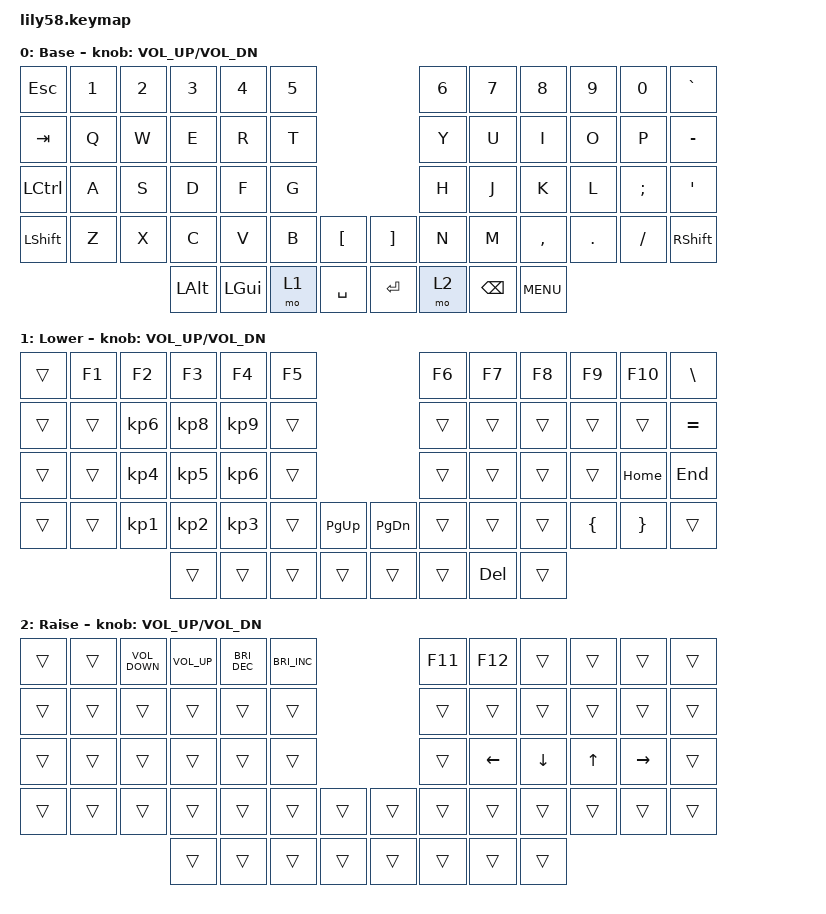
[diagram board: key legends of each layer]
/*
 * Copyright (c) 2020 The ZMK Contributors
 *
 * SPDX-License-Identifier: MIT
 */

#include <behaviors.dtsi>
#include <dt-bindings/zmk/keys.h>

/ {
    keymap {
        compatible = "zmk,keymap";

        default_layer {
            // ------------------------------------------------------------------------------------------------------------
            // |  ESC  |  1  |  2  |  3   |  4   |  5   |                   |  6   |  7    |  8    |  9   |   0   |   `   |
            // |  TAB  |  Q  |  W  |  E   |  R   |  T   |                   |  Y   |  U    |  I    |  O   |   P   |   -   |
            // |  CTRL |  A  |  S  |  D   |  F   |  G   |                   |  H   |  J    |  K    |  L   |   ;   |   '   |
            // | SHIFT |  Z  |  X  |  C   |  V   |  B   |   "["  |  |  "]"  |  N   |  M    |  ,    |  .   |   /   | SHIFT |
            //                     | ALT  | GUI  | LOWER|  SPACE |  | ENTER | RAISE| BSPC  | GUI   |

            display-name = "Base";
            bindings = <
&kp ESC    &kp N1  &kp N2  &kp N3    &kp N4    &kp N5                         &kp N6  &kp N7    &kp N8      &kp N9   &kp N0    &kp GRAVE
&kp TAB    &kp Q   &kp W   &kp E     &kp R     &kp T                          &kp Y   &kp U     &kp I       &kp O    &kp P     &kp MINUS
&kp LCTRL  &kp A   &kp S   &kp D     &kp F     &kp G                          &kp H   &kp J     &kp K       &kp L    &kp SEMI  &kp SQT
&kp LSHFT  &kp Z   &kp X   &kp C     &kp V     &kp B   &kp LBKT     &kp RBKT  &kp N   &kp M     &kp COMMA   &kp DOT  &kp FSLH  &kp RSHFT
                           &kp LALT  &kp LGUI  &mo 1   &kp SPACE    &kp RET   &mo 2   &kp BSPC  &kp K_MENU
            >;

            sensor-bindings = <&inc_dec_kp C_VOL_UP C_VOL_DN>;
        };

        lower_layer {
            // ------------------------------------------------------------------------------------------------------------
            // | BTCLR | BT1 | BT2 |  BT3 |  BT4 |  BT5 |                   |      |       |       |      |       |       |
            // |  F1   |  F2 |  F3 |  F4  |  F5  |  F6  |                   |  F7  |  F8   |  F9   |  F10 |  F11  |  F12  |
            // |   `   |  !  |  @  |  #   |  $   |  %   |                   |  ^   |  &    |  *    |  (   |   )   |   ~   |
            // |       |     |     |      |      |      |        |  |       |      |  _    |  +    |  {   |   }   |  "|"  |
            //                     |      |      |      |        |  |       |      |       |       |

            display-name = "Lower";
            bindings = <
&trans  &kp F1  &kp F2           &kp F3           &kp F4           &kp F5                                &kp F6  &kp F7      &kp F8  &kp F9    &kp F10   &kp BACKSLASH
&trans  &trans  &kp KP_NUMBER_6  &kp KP_NUMBER_8  &kp KP_NUMBER_9  &trans                                &trans  &trans      &trans  &trans    &trans    &kp EQUAL
&trans  &trans  &kp KP_NUMBER_4  &kp KP_NUMBER_5  &kp KP_NUMBER_6  &trans                                &trans  &trans      &trans  &trans    &kp HOME  &kp END
&trans  &trans  &kp KP_NUMBER_1  &kp KP_NUMBER_2  &kp KP_NUMBER_3  &trans  &kp PAGE_UP    &kp PAGE_DOWN  &trans  &trans      &trans  &kp LBRC  &kp RBRC  &trans
                                 &trans           &trans           &trans  &trans         &trans         &trans  &kp DELETE  &trans
            >;

            sensor-bindings = <&inc_dec_kp C_VOL_UP C_VOL_DN>;
        };

        raise_layer {
            // ------------------------------------------------------------------------------------------------------------
            // |       |     |     |      |      |      |                   |      |       |       |      |       |       |
            // |   `   |  1  |  2  |  3   |  4   |  5   |                   |  6   |   7   |   8   |  9   |   0   |       |
            // |   F1  |  F2 |  F3 |  F4  |  F5  |  F6  |                   |      |   <-  |   v   |  ^   |  ->   |       |
            // |   F7  |  F8 |  F9 |  F10 |  F11 |  F12 |        |  |       |  +   |   -   |   =   |  [   |   ]   |   \   |
            //                     |      |      |      |        |  |       |      |       |       |

            display-name = "Raise";
            bindings = <
&trans  &trans  &kp K_VOLUME_DOWN  &kp K_VOLUME_UP  &kp C_BRIGHTNESS_DEC  &kp C_BRIGHTNESS_INC                    &kp F11  &kp F12   &trans    &trans  &trans     &trans
&trans  &trans  &trans             &trans           &trans                &trans                                  &trans   &trans    &trans    &trans  &trans     &trans
&trans  &trans  &trans             &trans           &trans                &trans                                  &trans   &kp LEFT  &kp DOWN  &kp UP  &kp RIGHT  &trans
&trans  &trans  &trans             &trans           &trans                &trans                &trans    &trans  &trans   &trans    &trans    &trans  &trans     &trans
                                   &trans           &trans                &trans                &trans    &trans  &trans   &trans    &trans
            >;

            sensor-bindings = <&inc_dec_kp C_VOL_UP C_VOL_DN>;
        };

        extra_1 { status = "reserved"; };

        extra_2 { status = "reserved"; };

        extra_3 { status = "reserved"; };
    };
};
